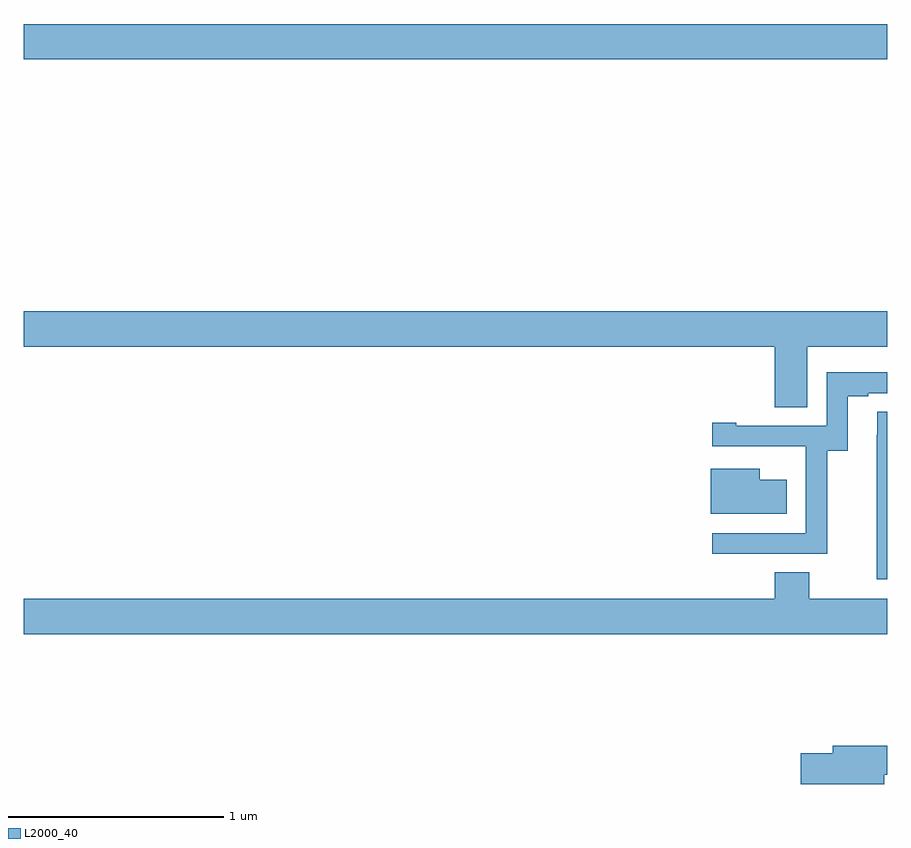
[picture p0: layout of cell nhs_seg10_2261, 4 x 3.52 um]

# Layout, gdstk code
import gdstk
lib = gdstk.Library(unit=1e-6, precision=1e-09)
def R(c, l, rs):  # rectangles x0, y0, x1, y1
    for r in rs: c.add(gdstk.rectangle(r[:2], r[2:], *l))
def P(c, l, *ps):  # polygons
    for p in ps: c.add(gdstk.Polygon(p, *l))
L2000_40 = (2000, 40)

nhs_seg10_2261 = lib.new_cell('nhs_seg10_2261')
R(nhs_seg10_2261, L2000_40, [(231,1312.304,235,1312.468)])
P(nhs_seg10_2261, L2000_40, [(234.631,1310.972),(235,1310.972),(235,1311.136),(231,1311.136),(231,1310.972),(234.479,1310.972),(234.479,1310.692),(234.631,1310.692)],
  [(234.723,1310.491),(234.817,1310.491),(234.817,1310.742),(234.913,1310.742),(234.913,1310.757),(235,1310.757),(235,1310.853),(234.72,1310.853),(234.72,1310.607),(234.301,1310.607),(234.301,1310.62),(234.189,1310.62),(234.189,1310.511),(234.623,1310.511),(234.623,1310.51),(234.624,1310.51),(234.624,1310.109),(234.189,1310.109),(234.189,1310.013),(234.723,1310.013)],
  [(235,1310.672),(234.954,1310.672),(234.954,1310.564),(234.953,1310.564),(234.953,1309.896),(235,1309.896)],
  [(234.535,1310.356),(234.409,1310.356),(234.409,1310.407),(234.182,1310.407),(234.182,1310.198),(234.535,1310.198)],
  [(235,1309.804),(234.639,1309.804),(234.639,1309.928),(234.479,1309.928),(234.479,1309.804),(231,1309.804),(231,1309.64),(235,1309.64)],
  [(234.988,1308.988),(235,1308.988),(235,1309.124),(234.749,1309.124),(234.749,1309.088),(234.6,1309.088),(234.6,1308.946),(234.988,1308.946)])

lib.write_gds('nhs_seg10_2261.gds')
